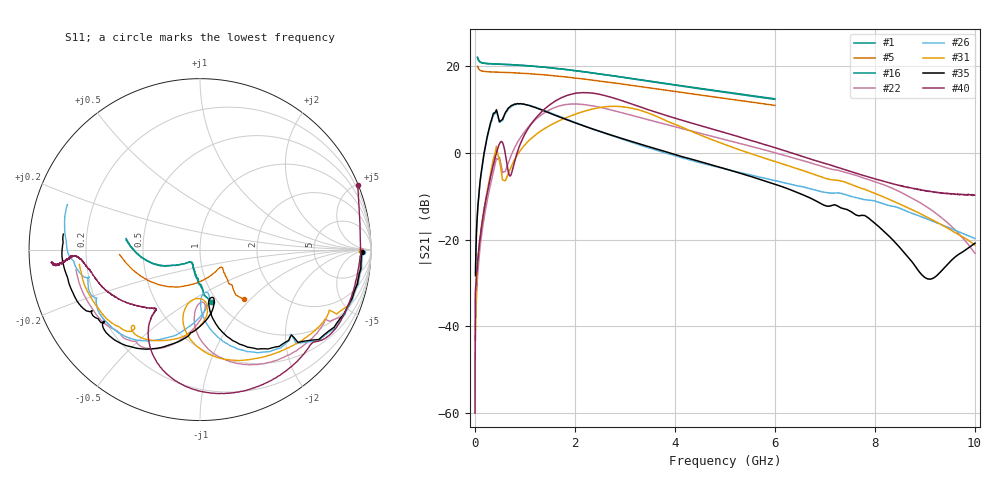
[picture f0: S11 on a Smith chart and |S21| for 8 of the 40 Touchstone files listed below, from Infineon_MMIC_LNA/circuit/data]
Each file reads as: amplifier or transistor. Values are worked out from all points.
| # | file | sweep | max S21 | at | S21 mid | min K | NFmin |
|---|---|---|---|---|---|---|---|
| 1 | BGB741L7ESD_2V510M.s2p | 50 MHz to 6 GHz | 22.1 dB | 50 MHz | 20.2 dB at 1 GHz | 0.81 | 0.98 dB |
| 2 | BGB741L7ESD_2V515M.s2p | 50 MHz to 6 GHz | 23.3 dB | 50 MHz | 21.3 dB at 1 GHz | 0.81 | - |
| 3 | BGB741L7ESD_2V520M.s2p | 50 MHz to 6 GHz | 24.0 dB | 50 MHz | 21.9 dB at 1 GHz | 0.81 | - |
| 4 | BGB741L7ESD_2V525M.s2p | 50 MHz to 6 GHz | 24.4 dB | 50 MHz | 22.2 dB at 1 GHz | 0.81 | - |
| 5 | BGB741L7ESD_3V06M0.s2p | 50 MHz to 6 GHz | 20.0 dB | 50 MHz | 18.4 dB at 1 GHz | 0.81 | 1.02 dB |
| 6 | BGB741L7ESD_3V010M.s2p | 50 MHz to 6 GHz | 22.1 dB | 50 MHz | 20.2 dB at 1 GHz | 0.81 | 0.98 dB |
| 7 | BGB741L7ESD_3V015M.s2p | 50 MHz to 6 GHz | 23.3 dB | 50 MHz | 21.3 dB at 1 GHz | 0.82 | - |
| 8 | BGB741L7ESD_3V020M.s2p | 50 MHz to 6 GHz | 24.0 dB | 50 MHz | 21.9 dB at 1 GHz | 0.82 | - |
| 9 | BGB741L7ESD_3V025M.s2p | 50 MHz to 6 GHz | 24.4 dB | 50 MHz | 22.2 dB at 1 GHz | 0.82 | - |
| 10 | BGB741L7ESD_3V56M0.s2p | 50 MHz to 6 GHz | 20.0 dB | 50 MHz | 18.4 dB at 1 GHz | 0.81 | 1.02 dB |
| 11 | BGB741L7ESD_3V510M.s2p | 50 MHz to 6 GHz | 22.1 dB | 50 MHz | 20.2 dB at 1 GHz | 0.81 | 0.98 dB |
| 12 | BGB741L7ESD_3V515M.s2p | 50 MHz to 6 GHz | 23.3 dB | 50 MHz | 21.3 dB at 1 GHz | 0.81 | - |
| 13 | BGB741L7ESD_3V520M.s2p | 50 MHz to 6 GHz | 24.0 dB | 50 MHz | 21.9 dB at 1 GHz | 0.81 | - |
| 14 | BGB741L7ESD_3V525M.s2p | 50 MHz to 6 GHz | 24.4 dB | 50 MHz | 22.2 dB at 1 GHz | 0.82 | - |
| 15 | BGB741L7ESD_4V06M0.s2p | 50 MHz to 6 GHz | 20.0 dB | 50 MHz | 18.4 dB at 1 GHz | 0.81 | 1.02 dB |
| 16 | BGB741L7ESD_4V010M.s2p | 50 MHz to 6 GHz | 22.0 dB | 50 MHz | 20.2 dB at 1 GHz | 0.81 | 0.98 dB |
| 17 | BGB741L7ESD_4V015M.s2p | 50 MHz to 6 GHz | 23.3 dB | 50 MHz | 21.2 dB at 1 GHz | 0.81 | - |
| 18 | BGB741L7ESD_4V020M.s2p | 50 MHz to 6 GHz | 23.9 dB | 50 MHz | 21.8 dB at 1 GHz | 0.82 | - |
| 19 | BGB741L7ESD_4V025M.s2p | 50 MHz to 6 GHz | 24.4 dB | 50 MHz | 22.2 dB at 1 GHz | 0.82 | - |
| 20 | BGM7Lxxx4L12_LNA1_1p8V.s2p | 10 MHz to 10.01 GHz | 11.3 dB | 850 MHz | -3.7 dB at 5.01 GHz | -3.34 | 0.61 dB |
| 21 | BGM7Lxxx4L12_LNA1_2p8V.s2p | 10 MHz to 10.01 GHz | 11.4 dB | 910 MHz | -3.5 dB at 5.01 GHz | -0.34 | 0.61 dB |
| 22 | BGM7Mxxx4L12_LNA1_1p8V.s2p | 10 MHz to 10.01 GHz | 11.3 dB | 1.99 GHz | 3.1 dB at 5.01 GHz | -0.08 | 0.65 dB |
| 23 | BGM7Mxxx4L12_LNA1_2p8V.s2p | 10 MHz to 10.01 GHz | 11.4 dB | 1.99 GHz | 3.3 dB at 5.01 GHz | -2.85 | 0.65 dB |
| 24 | BGM7xHxx4L12_LNA2_1p8V.s2p | 10 MHz to 10.01 GHz | 10.7 dB | 2.77 GHz | 2.0 dB at 5.01 GHz | 1.19 | 0.74 dB |
| 25 | BGM7xHxx4L12_LNA2_2p8V.s2p | 10 MHz to 10.01 GHz | 10.8 dB | 2.77 GHz | 2.1 dB at 5.01 GHz | -0.15 | 0.74 dB |
| 26 | BGM7xLxx4L12_LNA2_1p8V.s2p | 10 MHz to 10.01 GHz | 11.3 dB | 910 MHz | -3.7 dB at 5.01 GHz | -0.31 | 0.61 dB |
| 27 | BGM7xLxx4L12_LNA2_2p8V.s2p | 10 MHz to 10.01 GHz | 11.4 dB | 910 MHz | -3.6 dB at 5.01 GHz | -0.66 | 0.61 dB |
| 28 | BGM7xMxx4L12_LNA2_1p8V.s2p | 10 MHz to 10.01 GHz | 11.5 dB | 2.11 GHz | 2.7 dB at 5.01 GHz | -1.14 | 0.66 dB |
| 29 | BGM7xMxx4L12_LNA2_2p8V.s2p | 10 MHz to 10.01 GHz | 11.6 dB | 2.11 GHz | 2.9 dB at 5.01 GHz | -1.13 | 0.66 dB |
| 30 | BGM7xxHx4L12_LNA3_1p8V.s2p | 10 MHz to 10.01 GHz | 10.6 dB | 2.77 GHz | 1.7 dB at 5.01 GHz | 0.89 | 0.70 dB |
| 31 | BGM7xxHx4L12_LNA3_2p8V.s2p | 10 MHz to 10.01 GHz | 10.8 dB | 2.77 GHz | 1.9 dB at 5.01 GHz | 1.13 | 0.70 dB |
| 32 | BGM7xxLx4L12_LNA3_1p8V.s2p | 10 MHz to 10.01 GHz | 11.2 dB | 910 MHz | -3.8 dB at 5.01 GHz | 1.15 | 0.64 dB |
| 33 | BGM7xxLx4L12_LNA3_2p8V.s2p | 10 MHz to 10.01 GHz | 11.3 dB | 910 MHz | -3.7 dB at 5.01 GHz | -2.89 | 0.64 dB |
| 34 | BGM7xxxL4L12_LNA4_1p8V.s2p | 10 MHz to 10.01 GHz | 11.3 dB | 850 MHz | -3.8 dB at 5.01 GHz | -1.71 | 0.65 dB |
| 35 | BGM7xxxL4L12_LNA4_2p8V.s2p | 10 MHz to 10.01 GHz | 11.4 dB | 850 MHz | -3.7 dB at 5.01 GHz | 0.22 | 0.65 dB |
| 36 | BGM7xxxM4L12_LNA4_1p8V.s2p | 10 MHz to 10.01 GHz | 11.3 dB | 1.99 GHz | 2.8 dB at 5.01 GHz | -1.10 | 0.69 dB |
| 37 | BGM7xxxM4L12_LNA4_2p8V.s2p | 10 MHz to 10.01 GHz | 11.4 dB | 1.99 GHz | 3.0 dB at 5.01 GHz | -1.31 | 0.69 dB |
| 38 | BGM15HA12_RX1_AO_2p8V.S2P | 300 kHz to 10 GHz | 14.0 dB | 2.163 GHz | 4.9 dB at 5 GHz | -12.85 | 0.99 dB |
| 39 | BGM15HA12_RX3_AO_2p8V.S2P | 10 MHz to 10.01 GHz | 13.9 dB | 2.21 GHz | 4.9 dB at 5.01 GHz | -0.93 | 0.98 dB |
| 40 | BGM15HA12_RX4_AO_2p8V.S2P | 300 kHz to 10 GHz | 14.0 dB | 2.163 GHz | 4.7 dB at 5 GHz | -3.45 | 1.00 dB |

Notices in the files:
DesignKits/Infineon_MMIC_LNA/circuit/data/BGM7Lxxx4L12_LNA1_1p8V.s2p:
(c) 2014 Infineon Technologies AG
DesignKits/Infineon_MMIC_LNA/circuit/data/BGB741L7ESD_2V510M.s2p:
(c) 2009  Infineon Technologies AG, Munich
